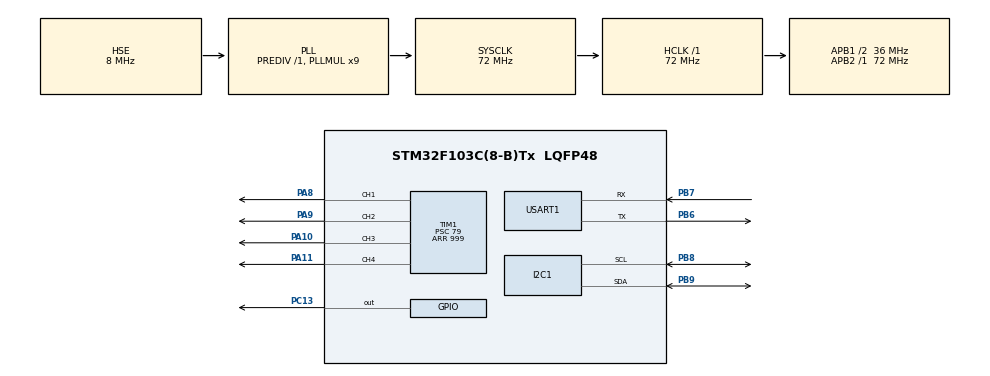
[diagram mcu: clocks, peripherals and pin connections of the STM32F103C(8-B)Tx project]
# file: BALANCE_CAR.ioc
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Mcu.Family=STM32F1
Mcu.Name=STM32F103C(8-B)Tx
Mcu.Package=LQFP48
NVIC.PriorityGroup=NVIC_PRIORITYGROUP_4
PA10.Signal=S_TIM1_CH3
PA11.Signal=S_TIM1_CH4
PA13.Mode=Serial_Wire
PA13.Signal=SYS_JTMS-SWDIO
PA14.Mode=Serial_Wire
PA14.Signal=SYS_JTCK-SWCLK
PA8.Signal=S_TIM1_CH1
PA9.Signal=S_TIM1_CH2
PB6.Mode=Asynchronous
PB6.Signal=USART1_TX
PB7.Mode=Asynchronous
PB7.Signal=USART1_RX
PB8.Mode=I2C
PB8.Signal=I2C1_SCL
PB9.Mode=I2C
PB9.Signal=I2C1_SDA
PC13-TAMPER-RTC.GPIO_PuPd=GPIO_NOPULL
PC13-TAMPER-RTC.PinState=GPIO_PIN_RESET
PC13-TAMPER-RTC.Signal=GPIO_Output
PD0-OSC_IN.Mode=HSE-External-Oscillator
PD0-OSC_IN.Signal=RCC_OSC_IN
PD1-OSC_OUT.Mode=HSE-External-Oscillator
PD1-OSC_OUT.Signal=RCC_OSC_OUT
ProjectManager.HeapSize=0x200
ProjectManager.StackSize=0x400
ProjectManager.TargetToolchain=MDK-ARM V5
RCC.AHBFreq_Value=72000000
RCC.APB1CLKDivider=RCC_HCLK_DIV2
RCC.APB1Freq_Value=36000000
RCC.APB1TimFreq_Value=72000000
RCC.APB2Freq_Value=72000000
RCC.APB2TimFreq_Value=72000000
RCC.HCLKFreq_Value=72000000
RCC.PLLMUL=RCC_PLL_MUL9
RCC.PLLSourceVirtual=RCC_PLLSOURCE_HSE
RCC.SYSCLKFreq_VALUE=72000000
RCC.SYSCLKSource=RCC_SYSCLKSOURCE_PLLCLK
RCC.USBFreq_Value=72000000
SH.S_TIM1_CH1.0=TIM1_CH1,PWM Generation1 CH1
SH.S_TIM1_CH2.0=TIM1_CH2,PWM Generation2 CH2
SH.S_TIM1_CH3.0=TIM1_CH3,PWM Generation3 CH3
SH.S_TIM1_CH4.0=TIM1_CH4,PWM Generation4 CH4
TIM1.Channel-PWM\ Generation1\ CH1=TIM_CHANNEL_1
TIM1.Channel-PWM\ Generation2\ CH2=TIM_CHANNEL_2
TIM1.Channel-PWM\ Generation3\ CH3=TIM_CHANNEL_3
TIM1.Channel-PWM\ Generation4\ CH4=TIM_CHANNEL_4
TIM1.Period=999
TIM1.Prescaler=79
TIM1.Pulse-PWM\ Generation1\ CH1=899
TIM1.Pulse-PWM\ Generation3\ CH3=899
USART1.VirtualMode=VM_ASYNC
VP_TIM1_VS_ClockSourceINT.Mode=Internal
board=custom

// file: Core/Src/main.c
/* USER CODE BEGIN Header */
/**
  ******************************************************************************
  * @file           : main.c
  * @brief          : Main program body
  ******************************************************************************
  * @attention
  *
  * Copyright (c) 2024 STMicroelectronics.
  * All rights reserved.
  *
  * This software is licensed under terms that can be found in the LICENSE file
  * in the root directory of this software component.
  * If no LICENSE file comes with this software, it is provided AS-IS.
  *
  ******************************************************************************
  */
/* USER CODE END Header */
#include "main.h"

/* USER CODE BEGIN Includes */
#include "i2c-lcd.h"
#include "stdio.h"
#include "math.h"
#include "string.h"
/* USER CODE END Includes */

I2C_HandleTypeDef hi2c1;

TIM_HandleTypeDef htim1;

UART_HandleTypeDef huart1;

void SystemClock_Config(void);
static void MX_GPIO_Init(void);
static void MX_I2C1_Init(void);
static void MX_TIM1_Init(void);
static void MX_USART1_UART_Init(void);

/* USER CODE BEGIN 0 */

#define MPU6050_ADDR 0xD0

#define SMPLRT_DIV_REG 0x19
#define GYRO_CONFIG_REG 0x1B
#define ACCEL_CONFIG_REG 0x1C
#define ACCEL_XOUT_H_REG 0x3B
#define TEMP_OUT_H_REG 0x41
#define GYRO_XOUT_H_REG 0x43
#define PWR_MGMT_1_REG 0x6B
#define WHO_AM_I_REG 0x75
#define Ts 20 //Sampling Period(ms) -> Ts = 1/(Fs*1000) = 20ms
#define G 0.0003053 //Constant to be multiplied with gyro readings -> G = 1/Fs/G_R
#define A_R 4096.0 //Accelerometer scale factor. Set during initialization. Consult datasheet section 4.4 for more info.
#define G_R 65.5 //Gyroscope scale factor. Set during initialization. Consult datasheet section 4.5 for more info.
#define M_PI   3.14159265358979323846264338327950288

int16_t Accel_X_RAW = 0;
int16_t Accel_Y_RAW = 0;
int16_t Accel_Z_RAW = 0;

int16_t Gyro_X_RAW = 0;
int16_t Gyro_Y_RAW = 0;
int16_t Gyro_Z_RAW = 0;

float Ax, Ay, Az, Gx, Gy, Gz,t;
uint16_t maxPwm =100;
uint8_t minPwm = 5;

char buffer[32]={0};
uint8_t count = 0;

float setpoint = 90.00;
float error = 0;
float lastError = 0;

float Kp = 1.0;
float Ki = 1.2;
float Kd = 1.3;

float P;
float I;
float D;
float pitch, roll;
float offset_gyroX;
float offset_gyroY;
float offset_acc_pitch;
float offset_acc_roll;
uint32_t I2C_TIMEOUT = 50;

uint32_t get_ms_tick(void) {
	return HAL_GetTick();
}

void MPU6050_Init (void)
{
	uint8_t check;
	uint8_t Data;

	// check device ID WHO_AM_I

	HAL_I2C_Mem_Read (&hi2c1, MPU6050_ADDR,WHO_AM_I_REG,1, &check, 1, 1000);

	if (check == 104)  // 0x68 will be returned by the sensor if everything goes well
	{
		// power management register 0X6B we should write all 0's to wake the sensor up
		Data = 0;
		HAL_I2C_Mem_Write(&hi2c1, MPU6050_ADDR, PWR_MGMT_1_REG, 1,&Data, 1, 1000);

		// Set DATA RATE of 1KHz by writing SMPLRT_DIV register
		Data = 0x07;
		HAL_I2C_Mem_Write(&hi2c1, MPU6050_ADDR, SMPLRT_DIV_REG, 1, &Data, 1, 1000);

		// Set accelerometer configuration in ACCEL_CONFIG Register
		// XA_ST=0,YA_ST=0,ZA_ST=0, FS_SEL=0 -> ± 2g
		Data = 0x00;
		HAL_I2C_Mem_Write(&hi2c1, MPU6050_ADDR, ACCEL_CONFIG_REG, 1, &Data, 1, 1000);

		// Set Gyroscopic configuration in GYRO_CONFIG Register
		// XG_ST=0,YG_ST=0,ZG_ST=0, FS_SEL=0 -> ± 250 °/s
		Data = 0x00;
		HAL_I2C_Mem_Write(&hi2c1, MPU6050_ADDR, GYRO_CONFIG_REG, 1, &Data, 1, 1000);
		//
		pitch=0;
		   roll=0;
	   offset_gyroX=0;
	    offset_gyroY=0;
     offset_acc_pitch=0;
     offset_acc_roll=0;
	}
}
void MPU6050_Read_Accel (void)
{
	uint8_t Rec_Data[6];

	// Read 6 BYTES of data starting from ACCEL_XOUT_H register

	HAL_I2C_Mem_Read (&hi2c1, MPU6050_ADDR, ACCEL_XOUT_H_REG, 1, Rec_Data, 6, 1000);

	Accel_X_RAW = (int16_t)(Rec_Data[0] << 8 | Rec_Data [1]);
	Accel_Y_RAW = (int16_t)(Rec_Data[2] << 8 | Rec_Data [3]);
	Accel_Z_RAW = (int16_t)(Rec_Data[4] << 8 | Rec_Data [5]);

	/*** convert the RAW values into acceleration in 'g'
	     we have to divide according to the Full scale value set in FS_SEL
	     I have configured FS_SEL = 0. So I am dividing by 16384.0
	     for more details check ACCEL_CONFIG Register              ****/

	Ax = Accel_X_RAW/16384.0;
	Ay = Accel_Y_RAW/16384.0;
	Az = Accel_Z_RAW/16384.0;
}

void MPU6050_Read_Gyro (void)
{
	uint8_t Rec_Data[6];

	// Read 6 BYTES of data starting from GYRO_XOUT_H register

	HAL_I2C_Mem_Read (&hi2c1, MPU6050_ADDR, GYRO_XOUT_H_REG, 1, Rec_Data, 6, 1000);

	Gyro_X_RAW = (int16_t)(Rec_Data[0] << 8 | Rec_Data [1]);
	Gyro_Y_RAW = (int16_t)(Rec_Data[2] << 8 | Rec_Data [3]);
	Gyro_Z_RAW = (int16_t)(Rec_Data[4] << 8 | Rec_Data [5]);

	/*** convert the RAW values into dps (°/s)
	     we have to divide according to the Full scale value set in FS_SEL
	     I have configured FS_SEL = 0. So I am dividing by 131.0
	     for more details check GYRO_CONFIG Register              ****/

	Gx = Gyro_X_RAW/131.0;
	Gy = Gyro_Y_RAW/131.0;
	Gz = Gyro_Z_RAW/131.0;
}

void mpu6050_update() {
	MPU6050_Read_Accel();
	MPU6050_Read_Gyro();
}

void mpu6050_calc_pitch_roll(float *pitch, float *roll) {
	//bool that keeps track of whether or not this is the first iteration
	int first_run = 1;

	//total pitch/roll calculations
	static float total_pitch = 0;
	static float total_roll = 0;

	//get gyro's current x/y values, and subtract an offset
	float gyro_x = Gx- offset_gyroX;
	float gyro_y = Gy - offset_gyroY;

	//integrate gyro rates into the total pitch/roll calculation. G = 1/G_R/Fs
	total_pitch += gyro_x * (G);
	total_roll += gyro_y * (G);

	//calculate pitch/roll using accelerometer readings alone, minus an offset
	float acc_pitch = (180 * atan2(Ay / A_R, Az / A_R)
			/ M_PI) - (offset_acc_pitch) + 90;
	float acc_roll = (180 * atan2(Ax / A_R, Az / A_R)
			/ M_PI) - (offset_acc_roll);

	//if this is the first iteration, simply set pitch/roll
	//to accelerometer's pitch/roll
	if (first_run) {
		total_pitch = acc_pitch;
		total_roll = acc_roll;

		first_run = 0;
	}
	//else apply complimentary filter using gyro/accelerometer pitch/roll
	//calculations
	else {
		total_pitch = total_pitch * .8 + acc_pitch * .2;
		total_roll = total_roll * .8 + acc_roll * .2;
	}

	//dereference pitch and roll pointers, set literal value to calculated
	//pitch and roll angles
	*pitch = total_pitch;
	*roll = total_roll;
}
void LeftW(int Forward, int Back){
		HAL_TIM_PWM_Start(&htim1,TIM_CHANNEL_3);
		HAL_TIM_PWM_Start(&htim1,TIM_CHANNEL_4);
		__HAL_TIM_SET_COMPARE(&htim1,TIM_CHANNEL_3,Forward);
		__HAL_TIM_SET_COMPARE(&htim1,TIM_CHANNEL_4,Back);
}
void RightW(int Forward, int Back){
		HAL_TIM_PWM_Start(&htim1,TIM_CHANNEL_1);
		HAL_TIM_PWM_Start(&htim1,TIM_CHANNEL_2);
		__HAL_TIM_SET_COMPARE(&htim1,TIM_CHANNEL_1,Forward);
		__HAL_TIM_SET_COMPARE(&htim1,TIM_CHANNEL_2,Back);
}

void mpu6050_calc_acc_pitch_roll( float *pitch, float *roll) {
	float acc_x, acc_y, acc_z;
	float acc_pitch, acc_roll;

	//normalized accelerometer readings. Constructed by taking
	//raw accelerometer readings and diving by accelerometer scaling
	//factor.
	acc_x = Ax / A_R;
	acc_y = Ay / A_R;
	acc_z = Az / A_R;

	//calculated pitch and roll angles
	acc_pitch = 180 * atan2(acc_y, acc_z) / M_PI;
	acc_roll = 180 * atan2(acc_x, acc_z) / M_PI;

	//dereference pitch and roll pointers, set literal value to calculated
	//pitch and roll angles
	*pitch = acc_pitch;
	*roll = acc_roll;
}

void mpu6050_calibrate() {
	//number of samples to take
	int num_samples = 50;

	//local variables used for calculating offsets.
	float offset_gyroX_test = 0;
	float offset_gyroY_test  = 0;
	float offset_accPitch_test  = 0;
	float offset_accRoll_test  = 0;

	uint32_t now = get_ms_tick();
	for (int i = 0; i < num_samples; i++) {
		//variables that will hold accelerometer pitch/roll values
		//for each iteration.
		float acc_pitch_test  = 0;
		float acc_roll_test  = 0;

		//update sensor readings
		mpu6050_update();
		//calculate pitch/roll using only accelerometer
		mpu6050_calc_acc_pitch_roll( &acc_pitch_test , &acc_roll_test);

		//increment offset values using calculated values
		offset_accPitch_test  += acc_pitch_test ;
		offset_accRoll_test  += acc_roll_test ;
		offset_gyroX_test  += Gx;
		offset_gyroY_test  += Gy;

		//wait till sampling period has elapsed, and repeat
		while (get_ms_tick() - now < Ts) {
		}
		now = get_ms_tick();
	}

	//take the average of the total readings. Store that value
	//in the mpu6050 typedef
	offset_gyroX = offset_gyroX / (float) num_samples;
	offset_gyroY = offset_gyroY / (float) num_samples;
	offset_acc_pitch = offset_accPitch_test / (float) num_samples;
	offset_acc_roll = offset_accRoll_test / (float) num_samples;
}
void uprintf(char *str)
{
		HAL_UART_Transmit(&huart1, (uint8_t *)str, strlen(str), 100);
}

void PID() {
	//update IMU, and calculate pitch/roll angles
	mpu6050_update();
	//mpu6050_calc_pitch_roll(&mpu6050, &pitch, &roll);
	mpu6050_calc_pitch_roll( &pitch,&roll);
	/********************* PID CALCULATION *************************/

	//calculate error
	error = setpoint - pitch;

	//calculate Proportional term
	P = Kp * error;

	//calculate Integral term. Account for wind-up
	I += (Ki * error);
	if (I > maxPwm)
		I = maxPwm;
	else if (I < minPwm)
		I = minPwm;

	////calculate Derivative term
	D = -Kd * (error - lastError);

	//total PID value
	float pid_pwm = P + I + D;

	//max sure pwm is bound between allowed min/max thresholds
	uint8_t out_pwm;
	pid_pwm *= 10;
	if (pid_pwm > maxPwm)
		out_pwm = maxPwm;
	else if (pid_pwm < minPwm)
		out_pwm = minPwm;
	else
		out_pwm = (uint8_t) pid_pwm;

	lastError = error;

	/******************** SET MOTOR PWM & DIRECTION *********************/
	//out_pwm *= 10;
	if (pid_pwm > 350) pid_pwm = 350;
	else if (pid_pwm <250) pid_pwm = 250;
	sprintf(buffer, "%f pid_pwm: %f\n", error,pid_pwm);
	uprintf(buffer);
	if (error >0)
	{
		LeftW(300,0);
		RightW(300,0);
	}
	else
	{
		LeftW(0,300);
		RightW(0,300);
	}
	//sprintf(buffer, "Error: %f\n, out_pwm: %d\n",error,out_pwm);
	//uprintf(buffer);
	//Set H-Bridge direction
	//doi chieu quay ( can xai thi xai)
	/*HAL_GPIO_WritePin(GPIOA, GPIO_PIN_8,
			(error > 0.0) ? GPIO_PIN_SET : GPIO_PIN_RESET);
	HAL_GPIO_WritePin(GPIOA, GPIO_PIN_9,
			(error > 0.0) ? GPIO_PIN_RESET : GPIO_PIN_SET);

	HAL_GPIO_WritePin(GPIOA, GPIO_PIN_10,
			(error > 0.0) ? GPIO_PIN_SET : GPIO_PIN_RESET);
	HAL_GPIO_WritePin(GPIOA, GPIO_PIN_11,
			(error > 0.0) ? GPIO_PIN_RESET : GPIO_PIN_SET);*/

	//update PWM to H-Bridge. PWM controlled by TIMER1
	// chon toc do quay
	/*htim1.Instance->CCR1 = out_pwm;
	htim1.Instance->CCR4 = out_pwm;*/

	/*******************************************************************/

}

/* USER CODE END 0 */

int main(void)
{

  /* MCU Configuration--------------------------------------------------------*/

  /* Reset of all peripherals, Initializes the Flash interface and the Systick. */
  HAL_Init();

  /* Configure the system clock */
  SystemClock_Config();

  /* Initialize all configured peripherals */
  MX_GPIO_Init();
  MX_I2C1_Init();
  MX_TIM1_Init();
  MX_USART1_UART_Init();
  /* USER CODE BEGIN 2 */
	//lcd_init();

	MPU6050_Init();
	HAL_GPIO_WritePin(GPIOC,GPIO_PIN_13,GPIO_PIN_RESET);

  /* USER CODE END 2 */

  /* Infinite loop */
  while (1)
  {

    /* USER CODE BEGIN 3 */
		HAL_GPIO_TogglePin(GPIOC,GPIO_PIN_13);
		PID();
		HAL_Delay(80);

	/*	MPU6050_Read_Accel();
	  MPU6050_Read_Gyro();
		 HAL_Delay(200);*/

  }

  /* USER CODE END 3 */
}

void SystemClock_Config(void)
{
  RCC_OscInitTypeDef RCC_OscInitStruct = {0};
  RCC_ClkInitTypeDef RCC_ClkInitStruct = {0};

  /** Initializes the RCC Oscillators according to the specified parameters
  * in the RCC_OscInitTypeDef structure.
  */
  RCC_OscInitStruct.OscillatorType = RCC_OSCILLATORTYPE_HSE;
  RCC_OscInitStruct.HSEState = RCC_HSE_ON;
  RCC_OscInitStruct.HSEPredivValue = RCC_HSE_PREDIV_DIV1;
  RCC_OscInitStruct.HSIState = RCC_HSI_ON;
  RCC_OscInitStruct.PLL.PLLState = RCC_PLL_ON;
  RCC_OscInitStruct.PLL.PLLSource = RCC_PLLSOURCE_HSE;
  RCC_OscInitStruct.PLL.PLLMUL = RCC_PLL_MUL9;
  if (HAL_RCC_OscConfig(&RCC_OscInitStruct) != HAL_OK)
  {
    Error_Handler();
  }

  /** Initializes the CPU, AHB and APB buses clocks
  */
  RCC_ClkInitStruct.ClockType = RCC_CLOCKTYPE_HCLK|RCC_CLOCKTYPE_SYSCLK
                              |RCC_CLOCKTYPE_PCLK1|RCC_CLOCKTYPE_PCLK2;
  RCC_ClkInitStruct.SYSCLKSource = RCC_SYSCLKSOURCE_PLLCLK;
  RCC_ClkInitStruct.AHBCLKDivider = RCC_SYSCLK_DIV1;
  RCC_ClkInitStruct.APB1CLKDivider = RCC_HCLK_DIV2;
  RCC_ClkInitStruct.APB2CLKDivider = RCC_HCLK_DIV1;

  if (HAL_RCC_ClockConfig(&RCC_ClkInitStruct, FLASH_LATENCY_2) != HAL_OK)
  {
    Error_Handler();
  }
}

static void MX_I2C1_Init(void)
{

  hi2c1.Instance = I2C1;
  hi2c1.Init.ClockSpeed = 100000;
  hi2c1.Init.DutyCycle = I2C_DUTYCYCLE_2;
  hi2c1.Init.OwnAddress1 = 0;
  hi2c1.Init.AddressingMode = I2C_ADDRESSINGMODE_7BIT;
  hi2c1.Init.DualAddressMode = I2C_DUALADDRESS_DISABLE;
  hi2c1.Init.OwnAddress2 = 0;
  hi2c1.Init.GeneralCallMode = I2C_GENERALCALL_DISABLE;
  hi2c1.Init.NoStretchMode = I2C_NOSTRETCH_DISABLE;
  if (HAL_I2C_Init(&hi2c1) != HAL_OK)
  {
    Error_Handler();
  }

}

static void MX_TIM1_Init(void)
{

  TIM_ClockConfigTypeDef sClockSourceConfig = {0};
  TIM_MasterConfigTypeDef sMasterConfig = {0};
  TIM_OC_InitTypeDef sConfigOC = {0};
  TIM_BreakDeadTimeConfigTypeDef sBreakDeadTimeConfig = {0};

  htim1.Instance = TIM1;
  htim1.Init.Prescaler = 79;
  htim1.Init.CounterMode = TIM_COUNTERMODE_UP;
  htim1.Init.Period = 999;
  htim1.Init.ClockDivision = TIM_CLOCKDIVISION_DIV1;
  htim1.Init.RepetitionCounter = 0;
  htim1.Init.AutoReloadPreload = TIM_AUTORELOAD_PRELOAD_DISABLE;
  if (HAL_TIM_Base_Init(&htim1) != HAL_OK)
  {
    Error_Handler();
  }
  sClockSourceConfig.ClockSource = TIM_CLOCKSOURCE_INTERNAL;
  if (HAL_TIM_ConfigClockSource(&htim1, &sClockSourceConfig) != HAL_OK)
  {
    Error_Handler();
  }
  if (HAL_TIM_PWM_Init(&htim1) != HAL_OK)
  {
    Error_Handler();
  }
  sMasterConfig.MasterOutputTrigger = TIM_TRGO_RESET;
  sMasterConfig.MasterSlaveMode = TIM_MASTERSLAVEMODE_DISABLE;
  if (HAL_TIMEx_MasterConfigSynchronization(&htim1, &sMasterConfig) != HAL_OK)
  {
    Error_Handler();
  }
  sConfigOC.OCMode = TIM_OCMODE_PWM1;
  sConfigOC.Pulse = 899;
  sConfigOC.OCPolarity = TIM_OCPOLARITY_HIGH;
  sConfigOC.OCNPolarity = TIM_OCNPOLARITY_HIGH;
  sConfigOC.OCFastMode = TIM_OCFAST_DISABLE;
  sConfigOC.OCIdleState = TIM_OCIDLESTATE_RESET;
  sConfigOC.OCNIdleState = TIM_OCNIDLESTATE_RESET;
  if (HAL_TIM_PWM_ConfigChannel(&htim1, &sConfigOC, TIM_CHANNEL_1) != HAL_OK)
  {
    Error_Handler();
  }
  sConfigOC.Pulse = 0;
  if (HAL_TIM_PWM_ConfigChannel(&htim1, &sConfigOC, TIM_CHANNEL_2) != HAL_OK)
  {
    Error_Handler();
  }
  sConfigOC.Pulse = 899;
  if (HAL_TIM_PWM_ConfigChannel(&htim1, &sConfigOC, TIM_CHANNEL_3) != HAL_OK)
  {
    Error_Handler();
  }
  sConfigOC.Pulse = 0;
  if (HAL_TIM_PWM_ConfigChannel(&htim1, &sConfigOC, TIM_CHANNEL_4) != HAL_OK)
  {
    Error_Handler();
  }
  sBreakDeadTimeConfig.OffStateRunMode = TIM_OSSR_DISABLE;
  sBreakDeadTimeConfig.OffStateIDLEMode = TIM_OSSI_DISABLE;
  sBreakDeadTimeConfig.LockLevel = TIM_LOCKLEVEL_OFF;
  sBreakDeadTimeConfig.DeadTime = 0;
  sBreakDeadTimeConfig.BreakState = TIM_BREAK_DISABLE;
  sBreakDeadTimeConfig.BreakPolarity = TIM_BREAKPOLARITY_HIGH;
  sBreakDeadTimeConfig.AutomaticOutput = TIM_AUTOMATICOUTPUT_DISABLE;
  if (HAL_TIMEx_ConfigBreakDeadTime(&htim1, &sBreakDeadTimeConfig) != HAL_OK)
  {
    Error_Handler();
  }
  HAL_TIM_MspPostInit(&htim1);

}

static void MX_USART1_UART_Init(void)
{

  huart1.Instance = USART1;
  huart1.Init.BaudRate = 115200;
  huart1.Init.WordLength = UART_WORDLENGTH_8B;
  huart1.Init.StopBits = UART_STOPBITS_1;
  huart1.Init.Parity = UART_PARITY_NONE;
  huart1.Init.Mode = UART_MODE_TX_RX;
  huart1.Init.HwFlowCtl = UART_HWCONTROL_NONE;
  huart1.Init.OverSampling = UART_OVERSAMPLING_16;
  if (HAL_UART_Init(&huart1) != HAL_OK)
  {
    Error_Handler();
  }

}

static void MX_GPIO_Init(void)
{
  GPIO_InitTypeDef GPIO_InitStruct = {0};

  /* GPIO Ports Clock Enable */
  __HAL_RCC_GPIOC_CLK_ENABLE();
  __HAL_RCC_GPIOD_CLK_ENABLE();
  __HAL_RCC_GPIOA_CLK_ENABLE();
  __HAL_RCC_GPIOB_CLK_ENABLE();

  /*Configure GPIO pin Output Level */
  HAL_GPIO_WritePin(GPIOC, GPIO_PIN_13, GPIO_PIN_RESET);

  /*Configure GPIO pin : PC13 */
  GPIO_InitStruct.Pin = GPIO_PIN_13;
  GPIO_InitStruct.Mode = GPIO_MODE_OUTPUT_PP;
  GPIO_InitStruct.Pull = GPIO_NOPULL;
  GPIO_InitStruct.Speed = GPIO_SPEED_FREQ_LOW;
  HAL_GPIO_Init(GPIOC, &GPIO_InitStruct);

}

void Error_Handler(void)
{
  __disable_irq();
  while (1)
  {
  }
}
